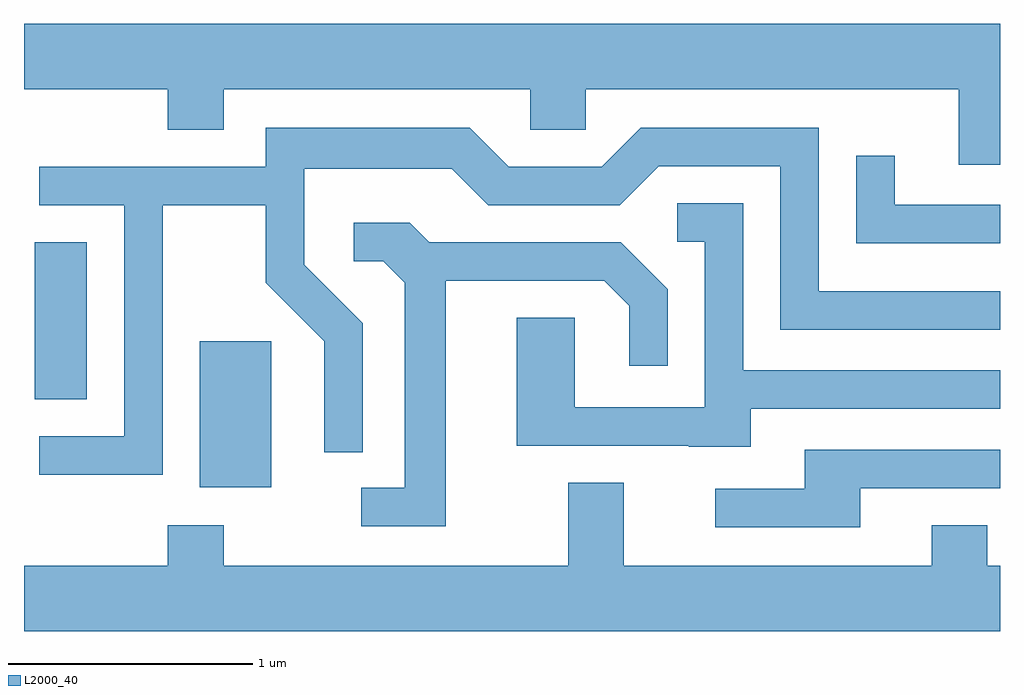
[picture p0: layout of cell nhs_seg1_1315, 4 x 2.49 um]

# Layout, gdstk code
import gdstk
lib = gdstk.Library(unit=1e-6, precision=1e-09)
def R(c, l, rs):  # rectangles x0, y0, x1, y1
    for r in rs: c.add(gdstk.rectangle(r[:2], r[2:], *l))
def P(c, l, *ps):  # polygons
    for p in ps: c.add(gdstk.Polygon(p, *l))
L2000_40 = (2000, 40)

nhs_seg1_1315 = lib.new_cell('nhs_seg1_1315')
R(nhs_seg1_1315, L2000_40, [(226.331,913.486,226.624,914.084), (225.656,913.846,225.869,914.489)])
P(nhs_seg1_1315, L2000_40, [(229.611,915.384),(225.611,915.384),(225.611,915.116),(226.201,915.116),(226.201,914.951),(226.429,914.951),(226.429,915.116),(227.686,915.116),(227.686,914.951),(227.914,914.951),(227.914,915.116),(229.441,915.116),(229.441,914.806),(229.611,914.806)],
  [(226.179,914.641),(226.601,914.641),(226.601,914.324),(226.841,914.084),(226.841,913.628),(226.999,913.628),(226.999,914.157),(226.759,914.397),(226.759,914.791),(227.364,914.791),(227.514,914.641),(228.052,914.641),(228.212,914.801),(228.711,914.801),(228.711,914.131),(229.611,914.131),(229.611,914.289),(228.869,914.289),(228.869,914.959),(228.139,914.959),(227.979,914.799),(227.597,914.799),(227.437,914.959),(226.601,914.959),(226.601,914.799),(225.673,914.799),(225.673,914.641),(226.021,914.641),(226.021,913.694),(225.673,913.694),(225.673,913.536),(226.179,913.536)],
  [(229.611,914.644),(229.179,914.644),(229.179,914.843),(229.021,914.843),(229.021,914.486),(229.611,914.486)],
  [(228.589,913.806),(229.611,913.806),(229.611,913.964),(228.559,913.964),(228.559,914.649),(228.288,914.649),(228.288,914.491),(228.401,914.491),(228.401,913.814),(227.869,913.814),(227.869,914.179),(227.631,914.179),(227.631,913.656),(228.335,913.656),(228.335,913.651),(228.589,913.651)],
  [(227.339,914.331),(227.989,914.331),(228.091,914.229),(228.091,913.983),(228.249,913.983),(228.249,914.297),(228.057,914.489),(227.272,914.489),(227.192,914.569),(226.963,914.569),(226.963,914.411),(227.084,914.411),(227.171,914.324),(227.171,913.484),(226.993,913.484),(226.993,913.326),(227.339,913.326)],
  [(229.039,913.481),(229.611,913.481),(229.611,913.639),(228.811,913.639),(228.811,913.479),(228.443,913.479),(228.443,913.321),(229.039,913.321)],
  [(229.611,913.164),(229.559,913.164),(229.559,913.329),(229.331,913.329),(229.331,913.164),(228.069,913.164),(228.069,913.504),(227.841,913.504),(227.841,913.164),(226.429,913.164),(226.429,913.329),(226.201,913.329),(226.201,913.164),(225.611,913.164),(225.611,912.896),(229.611,912.896)])

lib.write_gds('nhs_seg1_1315.gds')
